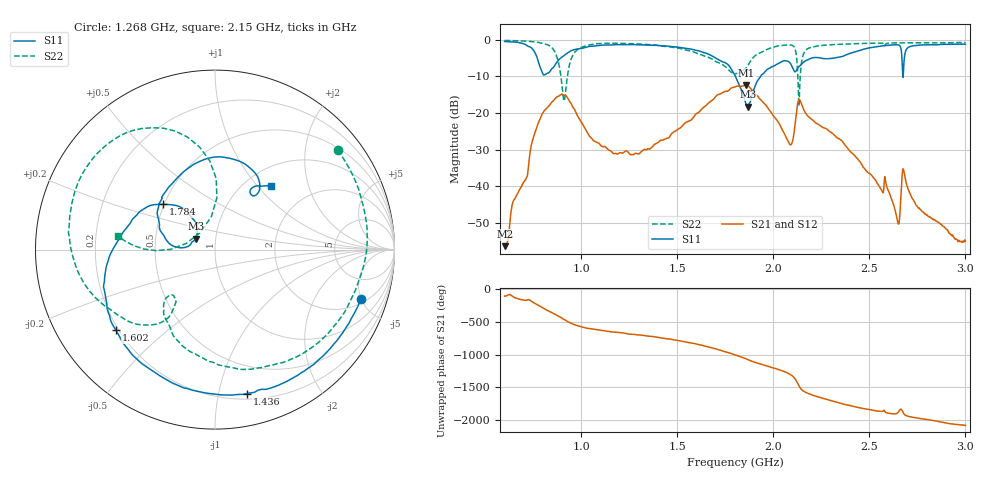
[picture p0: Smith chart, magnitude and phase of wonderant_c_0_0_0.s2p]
#  HZ  S  RI  R  50.00
! Rohde & Schwarz ZVB8 2Ports - Version 2.81 - 1145.1010k08 SN: 100113
! Date: 2016-05-17 22:36:59
! Measurements: S11 S21 S12 S22
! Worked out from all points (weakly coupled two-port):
!   1000 points, 600 MHz to 3 GHz, reference 50 ohm
!   highest |S21| = -12.35 dB at 1.859 GHz (marker M1); lowest = -56.3 dB at 602.4 MHz (marker M2)
!   lowest |S11| = -18.2 dB at 1.866 GHz (marker M3), VSWR 1.28, Z = 40.1 + j4.93 ohm
!   |S11| at or under -10 dB: 1.802 GHz to 1.934 GHz (131.2 MHz wide, 7.02 % of centre); 2.674889 GHz to 2.675955 GHz (1.066 MHz wide, 0.0398 % of centre)
!   |S22| runs from -18.0 to -0.2 dB; largest |S21 - S12| = 0.002
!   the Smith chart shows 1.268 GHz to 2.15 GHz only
!   S11 on the Smith chart (normalised r, x): 1.268 GHz: 2.37, -4.95; 1.436 GHz: 0.25, -1.21; 1.602 GHz: 0.19, -0.34; 1.784 GHz: 0.49, +0.29; 2.15 GHz: 1.29, +1.18
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6e8  -0.8116 0.4843  -0.000637 -0.0014  -0.000639 -0.00136  -0.9464 0.2349
6.024024e8  -0.804 0.4944  -0.000628 -0.0014  -0.000571 -0.00144  -0.9432 0.2451
7.657658e8  0.139 0.5863  -0.0336 0.0516  -0.0337 0.0512  -0.4637 0.8009
8.762763e8  -0.177 0.477  0.1023 -0.1335  0.1024 -0.1333  0.3605 0.3974
9.219219e8  -0.0944 0.6359  -0.1087 -0.1314  -0.1084 -0.1315  -0.191 -0.159
1.001201e9  0.2558 0.717  -0.056 0.0491  -0.0562 0.0489  -0.5125 0.6006
1.267868e9  0.8118 -0.276  0.0246 0.0117  0.0245 0.0117  0.6842 0.5555
1.4e9  0.3617 -0.7522  0.0373 -0.0139  0.0375 -0.0139  0.8272 -0.0951
1.436036e9  0.1771 -0.8022  0.035 -0.0273  0.0352 -0.0271  0.7617 -0.2691
1.601802e9  -0.5521 -0.4481  -0.0555 -0.0825  -0.0551 -0.0826  0.058 -0.6509
1.784384e9  -0.2886 0.2519  -0.00165 0.2211  -0.00274 0.2212  -0.249 -0.254
1.801201e9  -0.209 0.2437  0.0642 0.2196  0.0636 0.2197  -0.2317 -0.255
1.858859e9  -0.1018 0.0828  0.235 0.0548  0.2347 0.0565  -0.2367 -0.3418
1.866066e9  -0.1063 0.0605  0.2384 0.0141  0.2384 0.0151  -0.2485 -0.3645
2.017417e9  -0.1921 0.4178  -0.0604 -0.0537  -0.0603 -0.0539  -0.809 0.0488
2.106306e9  0.2291 0.304  -0.00396 0.051  -0.00415 0.0508  -0.4547 0.6648
2.14955e9  0.3107 0.3551  -0.0193 -0.1252  -0.0185 -0.1256  -0.5406 0.0769
2.2e9  0.5361 0.1666  -0.0809 -0.0114  -0.0808 -0.0116  -0.5885 0.5288
2.454655e9  0.0885 -0.7144  0.0205 -0.00448  0.0206 -0.00447  0.3713 0.8053
2.601201e9  -0.5665 -0.6211  -4.64e-05 -0.00849  -1.45e-05 -0.0084  0.771 0.4561
2.68048e9  -0.3165 -0.3976  -0.00358 -0.0153  -0.00343 -0.0155  0.8861 0.1857
3e9  -0.6559 0.5677  0.000183 0.00183  0.000178 0.00183  0.5451 -0.7332
